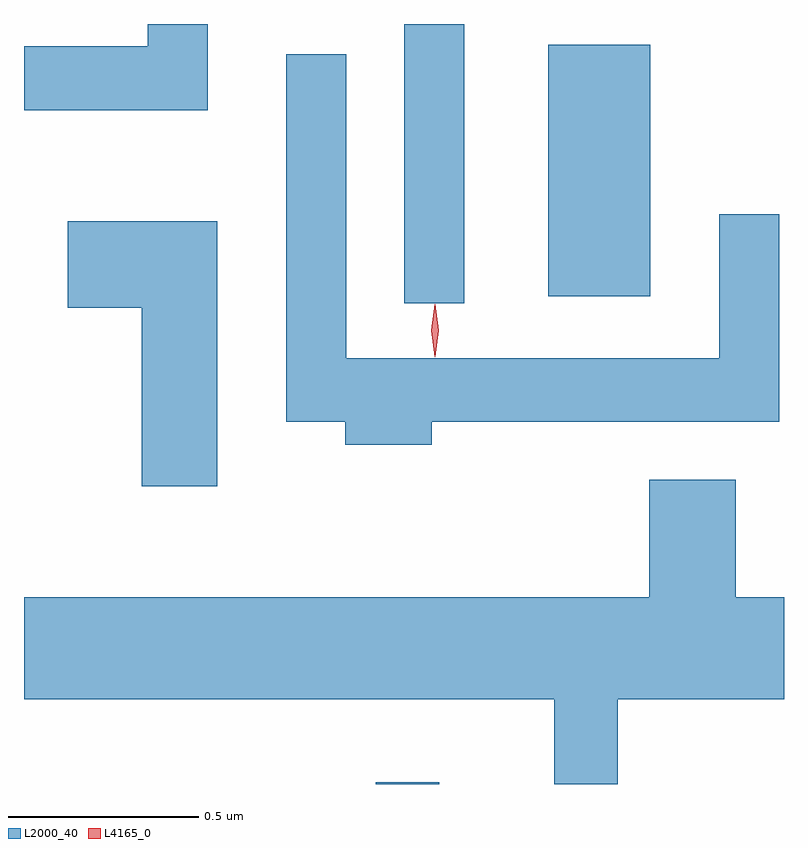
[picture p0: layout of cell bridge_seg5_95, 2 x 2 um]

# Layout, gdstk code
import gdstk
lib = gdstk.Library(unit=1e-6, precision=1e-09)
def R(c, l, rs):  # rectangles x0, y0, x1, y1
    for r in rs: c.add(gdstk.rectangle(r[:2], r[2:], *l))
def P(c, l, *ps):  # polygons
    for p in ps: c.add(gdstk.Polygon(p, *l))
L2000_40 = (2000, 40)
L4165_0 = (4165, 0)

bridge_seg5_95 = lib.new_cell('bridge_seg5_95')
R(bridge_seg5_95, L2000_40, [(1216.761,1476.553,1216.929,1476.558), (1216.836,1477.818,1216.994,1478.553), (1217.216,1477.836,1217.484,1478.499)])
P(bridge_seg5_95, L2000_40, [(1216.319,1478.553),(1216.161,1478.553),(1216.161,1478.494),(1215.836,1478.494),(1215.836,1478.326),(1216.319,1478.326)],
  [(1216.909,1477.506),(1217.824,1477.506),(1217.824,1478.053),(1217.666,1478.053),(1217.666,1477.674),(1216.684,1477.674),(1216.684,1478.473),(1216.526,1478.473),(1216.526,1477.506),(1216.681,1477.506),(1216.681,1477.446),(1216.909,1477.446)],
  [(1216.344,1478.034),(1215.951,1478.034),(1215.951,1477.806),(1216.146,1477.806),(1216.146,1477.336),(1216.344,1477.336)],
  [(1217.399,1476.776),(1217.836,1476.776),(1217.836,1477.044),(1217.709,1477.044),(1217.709,1477.354),(1217.481,1477.354),(1217.481,1477.044),(1215.836,1477.044),(1215.836,1476.776),(1217.231,1476.776),(1217.231,1476.553),(1217.399,1476.553)])
P(bridge_seg5_95, L4165_0, [(1216.917,1477.679),(1216.917,1477.68),(1216.908,1477.746),(1216.917,1477.812),(1216.917,1477.813),(1216.918,1477.812),(1216.927,1477.746),(1216.918,1477.68)],
  [(1216.917,1477.677),(1216.908,1477.747),(1216.917,1477.816),(1216.918,1477.816),(1216.918,1477.816),(1216.928,1477.747),(1216.918,1477.677),(1216.918,1477.677)])

lib.write_gds('bridge_seg5_95.gds')
